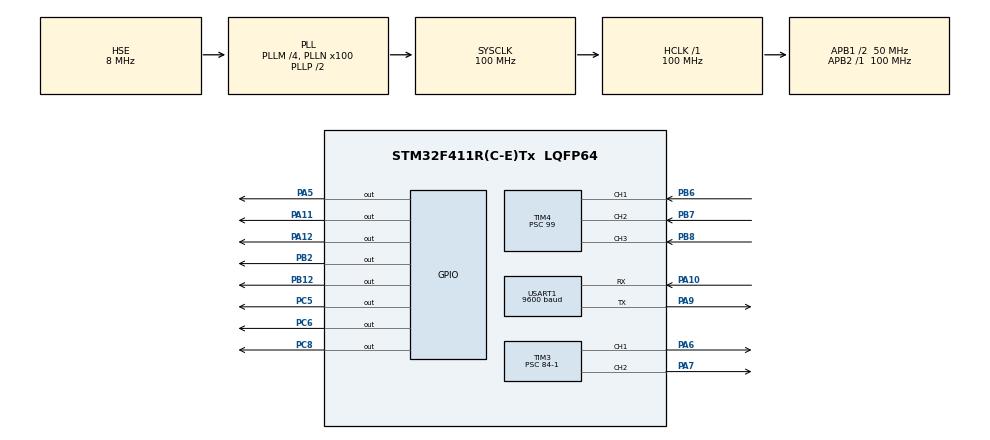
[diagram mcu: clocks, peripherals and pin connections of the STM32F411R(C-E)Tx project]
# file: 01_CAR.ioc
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Mcu.Family=STM32F4
Mcu.Name=STM32F411R(C-E)Tx
Mcu.Package=LQFP64
NVIC.PriorityGroup=NVIC_PRIORITYGROUP_4
NVIC.TIM4_IRQn=true\:0\:0\:false\:false\:true\:true\:true\:true
NVIC.USART1_IRQn=true\:0\:0\:false\:false\:true\:true\:true\:true
PA10.Mode=Asynchronous
PA10.Signal=USART1_RX
PA11.Signal=GPIO_Output
PA12.Signal=GPIO_Output
PA13.Mode=Serial_Wire
PA13.Signal=SYS_JTMS-SWDIO
PA14.Mode=Serial_Wire
PA14.Signal=SYS_JTCK-SWCLK
PA5.Signal=GPIO_Output
PA6.Signal=S_TIM3_CH1
PA7.Signal=S_TIM3_CH2
PA9.Mode=Asynchronous
PA9.Signal=USART1_TX
PB12.Signal=GPIO_Output
PB2.Signal=GPIO_Output
PB6.GPIO_Speed=GPIO_SPEED_FREQ_VERY_HIGH
PB6.Signal=S_TIM4_CH1
PB7.GPIO_Speed=GPIO_SPEED_FREQ_VERY_HIGH
PB7.Signal=S_TIM4_CH2
PB8.GPIO_Speed=GPIO_SPEED_FREQ_VERY_HIGH
PB8.Signal=S_TIM4_CH3
PC5.Signal=GPIO_Output
PC6.GPIO_Speed=GPIO_SPEED_FREQ_LOW
PC6.Signal=GPIO_Output
PC8.Signal=GPIO_Output
PH0\ -\ OSC_IN.Mode=HSE-External-Clock-Source
PH0\ -\ OSC_IN.Signal=RCC_OSC_IN
PH1\ -\ OSC_OUT.Mode=HSE-External-Clock-Source
PH1\ -\ OSC_OUT.Signal=RCC_OSC_OUT
ProjectManager.HeapSize=0x200
ProjectManager.StackSize=0x400
ProjectManager.TargetToolchain=STM32CubeIDE
RCC.48MHZClocksFreq_Value=50000000
RCC.AHBFreq_Value=100000000
RCC.APB1CLKDivider=RCC_HCLK_DIV2
RCC.APB1Freq_Value=50000000
RCC.APB1TimFreq_Value=100000000
RCC.APB2Freq_Value=100000000
RCC.APB2TimFreq_Value=100000000
RCC.CortexFreq_Value=100000000
RCC.HCLKFreq_Value=100000000
RCC.HSE_VALUE=8000000
RCC.HSI_VALUE=16000000
RCC.LSE_VALUE=32768
RCC.PLLM=4
RCC.PLLN=100
RCC.PLLSourceVirtual=RCC_PLLSOURCE_HSE
RCC.SYSCLKFreq_VALUE=100000000
RCC.SYSCLKSource=RCC_SYSCLKSOURCE_PLLCLK
RCC.VCOOutputFreq_Value=200000000
SH.S_TIM3_CH1.0=TIM3_CH1,PWM Generation1 CH1
SH.S_TIM3_CH2.0=TIM3_CH2,PWM Generation2 CH2
SH.S_TIM4_CH1.0=TIM4_CH1,Input_Capture1_from_TI1
SH.S_TIM4_CH2.0=TIM4_CH2,Input_Capture2_from_TI2
SH.S_TIM4_CH3.0=TIM4_CH3,Input_Capture3_from_TI3
TIM3.Channel-PWM\ Generation1\ CH1=TIM_CHANNEL_1
TIM3.Channel-PWM\ Generation2\ CH2=TIM_CHANNEL_2
TIM3.Period=1000-1
TIM3.Prescaler=84-1
TIM4.Channel-Input_Capture1_from_TI1=TIM_CHANNEL_1
TIM4.Channel-Input_Capture2_from_TI2=TIM_CHANNEL_2
TIM4.Channel-Input_Capture3_from_TI3=TIM_CHANNEL_3
TIM4.ICFilter_CH1=10
TIM4.ICFilter_CH2=10
TIM4.ICFilter_CH3=10
TIM4.Prescaler=99
USART1.BaudRate=9600
USART1.VirtualMode=VM_ASYNC
VP_TIM4_VS_ClockSourceINT.Mode=Internal
board=custom

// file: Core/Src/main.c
/* USER CODE BEGIN Header */
/**
  ******************************************************************************
  * @file           : main.c
  * @brief          : Main program body
  ******************************************************************************
  * @attention
  *
  * Copyright (c) 2026 STMicroelectronics.
  * All rights reserved.
  *
  * This software is licensed under terms that can be found in the LICENSE file
  * in the root directory of this software component.
  * If no LICENSE file comes with this software, it is provided AS-IS.
  *
  ******************************************************************************
  */
/* USER CODE END Header */
#include "main.h"
#include "tim.h"
#include "usart.h"
#include "gpio.h"

/* USER CODE BEGIN Includes */

#include "motor.h"
#include "bluetooth.h"
#include "ultrasonic.h"

/* USER CODE END Includes */

/* USER CODE BEGIN PV */

extern TIM_HandleTypeDef htim3;
extern TIM_HandleTypeDef htim4;
extern UART_HandleTypeDef huart1;
extern int drive_mode;

uint32_t last_sensor_time = 0;
uint32_t turn_start_time = 0;
int is_turning = 0; // 0: 주행모드, 1: 90도 회전모드

float L_sum = 0, C_sum = 0, R_sum = 0;
int sample_count = 0;
/* USER CODE END PV */

void SystemClock_Config(void);

int main(void)
{

  /* MCU Configuration--------------------------------------------------------*/

  /* Reset of all peripherals, Initializes the Flash interface and the Systick. */
  HAL_Init();

  /* Configure the system clock */
  SystemClock_Config();

  /* Initialize all configured peripherals */
  MX_GPIO_Init();
  MX_TIM3_Init();
  MX_USART1_UART_Init();
  MX_TIM4_Init();
  /* USER CODE BEGIN 2 */

  Motor_Init(&htim3);
  Bluetooth_Init(&huart1);

  Ultrasonic_Init(&htim4);
  Ultrasonic_Start();
  HAL_Delay(800);
  /* USER CODE END 2 */

  /* Infinite loop */
  /* USER CODE BEGIN WHILE */
  while (1)
  {
	  uint32_t current_time = HAL_GetTick();

	      if (drive_mode == 1)
	      {
	          // [STEP 1] 센서 순차 트리거 (20ms마다 하나씩, 총 60ms 주기)
	          if (current_time - last_sensor_time >= 20)
	          {
	              static int sensor_step = 0;

	              if (sensor_step == 0) Ultrasonic_Trigger(US_LEFT);
	              else if (sensor_step == 1) Ultrasonic_Trigger(US_CENTER);
	              else {
	                  Ultrasonic_Trigger(US_RIGHT);

	                  // 3개 센서 데이터 즉시 수집 (60ms 주기)
	                  float L = Ultrasonic_GetDistance(US_LEFT);
	                  float C = Ultrasonic_GetDistance(US_CENTER);
	                  float R = Ultrasonic_GetDistance(US_RIGHT);

	                  // [수정] 유효 범위 필터링: 너무 가까우면(데드존) 0.0으로 처리하여 벽으로 인식하게 함
	                  if (L <= 2.5f) L = 0.0f; else if (L > 120.0f) L = 100.0f;
	                  if (C <= 2.5f) C = 0.0f; else if (C > 120.0f) C = 100.0f;
	                  if (R <= 2.5f) R = 0.0f; else if (R > 120.0f) R = 100.0f;

	                  // [제어 로직 시작] - 벽 긁기 방지 및 정밀 주행 최적화
	                  static uint32_t turn_finish_time = 0; // 회전이 끝난 시점 기록

	                  if (is_turning)
	                  {
	                      // 회전 탈출 조건: 정면 32cm 확보 시 직진 모드 복귀
	                      if (C > 32.0f || current_time - turn_start_time > 450)
	                      {
	                          Motor_Stop();
	                          is_turning = 0;
	                          turn_finish_time = current_time;
	                      }
	                  }
	                  else
	                  {
	                      // 1. 코너 감지 (26cm로 상향하여 미리 회전 시작)
	                      if (C < 26.0f && (current_time - turn_finish_time > 600))
	                      {
	                          if (L >= R) Motor_Left(); else Motor_Right();

	                          Motor_SetSpeed(650, 650); // 회전 속도 최적화
	                          turn_start_time = current_time;
	                          is_turning = 1;
	                      }
	                      // 2. 정밀 중앙 유지 주행
	                      else
	                      {
	                          float diff = L - R;
	                          Motor_Forward();

	                          int base_speed = 400; // 정밀도를 위해 400으로 하향
	                          int correction = 0;

	                          // [비선형 회피] 벽에 아주 가까울 때(11cm) 강력하게 조향
	                          if (L < 11.0f) {
	                              correction = -250; // 오른쪽으로 강력하게 꺾음
	                          } else if (R < 11.0f) {
	                              correction = 250;  // 왼쪽으로 강력하게 꺾음
	                          } else {
	                              // 평상시 선형 보정 (감도 18)
	                              correction = (int)(diff * 18);
	                              if (correction > 180) correction = 180;
	                              if (correction < -180) correction = -180;
	                          }

	                          // 최종 속도 적용
	                          Motor_SetSpeed(base_speed - correction, base_speed + correction);
	                      }
	                  }
	              }

	              sensor_step = (sensor_step + 1) % 3;
	              last_sensor_time = current_time;
	          }
	      }
	      else
	      {
	          // 수동 모드일 때는 주행 플래그만 초기화하고 모터 제어는 bluetooth.c에 맡김
	          is_turning = 0;
	          sample_count = 0;
	          HAL_Delay(100);
	      }
    /* USER CODE END WHILE */

  }
}

void SystemClock_Config(void)
{
  RCC_OscInitTypeDef RCC_OscInitStruct = {0};
  RCC_ClkInitTypeDef RCC_ClkInitStruct = {0};

  /** Configure the main internal regulator output voltage
  */
  __HAL_RCC_PWR_CLK_ENABLE();
  __HAL_PWR_VOLTAGESCALING_CONFIG(PWR_REGULATOR_VOLTAGE_SCALE1);

  /** Initializes the RCC Oscillators according to the specified parameters
  * in the RCC_OscInitTypeDef structure.
  */
  RCC_OscInitStruct.OscillatorType = RCC_OSCILLATORTYPE_HSE;
  RCC_OscInitStruct.HSEState = RCC_HSE_BYPASS;
  RCC_OscInitStruct.PLL.PLLState = RCC_PLL_ON;
  RCC_OscInitStruct.PLL.PLLSource = RCC_PLLSOURCE_HSE;
  RCC_OscInitStruct.PLL.PLLM = 4;
  RCC_OscInitStruct.PLL.PLLN = 100;
  RCC_OscInitStruct.PLL.PLLP = RCC_PLLP_DIV2;
  RCC_OscInitStruct.PLL.PLLQ = 4;
  if (HAL_RCC_OscConfig(&RCC_OscInitStruct) != HAL_OK)
  {
    Error_Handler();
  }

  /** Initializes the CPU, AHB and APB buses clocks
  */
  RCC_ClkInitStruct.ClockType = RCC_CLOCKTYPE_HCLK|RCC_CLOCKTYPE_SYSCLK
                              |RCC_CLOCKTYPE_PCLK1|RCC_CLOCKTYPE_PCLK2;
  RCC_ClkInitStruct.SYSCLKSource = RCC_SYSCLKSOURCE_PLLCLK;
  RCC_ClkInitStruct.AHBCLKDivider = RCC_SYSCLK_DIV1;
  RCC_ClkInitStruct.APB1CLKDivider = RCC_HCLK_DIV2;
  RCC_ClkInitStruct.APB2CLKDivider = RCC_HCLK_DIV1;

  if (HAL_RCC_ClockConfig(&RCC_ClkInitStruct, FLASH_LATENCY_3) != HAL_OK)
  {
    Error_Handler();
  }
}

void Error_Handler(void)
{
  __disable_irq();
  while (1)
  {
  }
}
